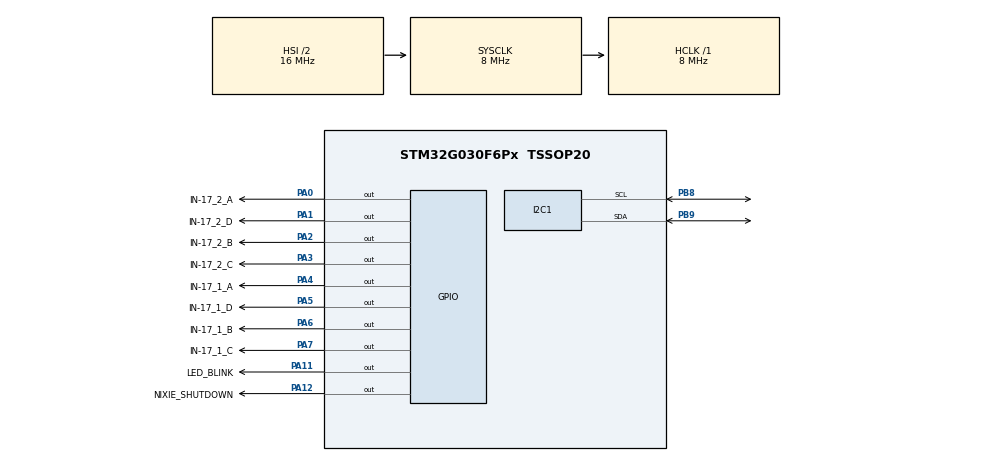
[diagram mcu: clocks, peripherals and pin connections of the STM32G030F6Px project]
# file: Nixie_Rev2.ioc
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I2C1.Timing=0x2000090E
Mcu.Family=STM32G0
Mcu.Name=STM32G030F6Px
Mcu.Package=TSSOP20
PA0.GPIO_Label=IN-17_2_A
PA0.GPIO_ModeDefaultOutputPP=GPIO_MODE_OUTPUT_OD
PA0.GPIO_PuPd=GPIO_PULLUP
PA0.GPIO_Speed=GPIO_SPEED_FREQ_HIGH
PA0.PinState=GPIO_PIN_SET
PA0.Signal=GPIO_Output
PA1.GPIO_Label=IN-17_2_D
PA1.GPIO_ModeDefaultOutputPP=GPIO_MODE_OUTPUT_OD
PA1.GPIO_PuPd=GPIO_PULLUP
PA1.GPIO_Speed=GPIO_SPEED_FREQ_HIGH
PA1.PinState=GPIO_PIN_SET
PA1.Signal=GPIO_Output
PA11\ [PA9].GPIO_Label=LED_BLINK
PA11\ [PA9].Signal=GPIO_Output
PA12\ [PA10].GPIO_Label=NIXIE_SHUTDOWN
PA12\ [PA10].GPIO_ModeDefaultOutputPP=GPIO_MODE_OUTPUT_OD
PA12\ [PA10].GPIO_PuPd=GPIO_PULLUP
PA12\ [PA10].PinState=GPIO_PIN_SET
PA12\ [PA10].Signal=GPIO_Output
PA13.Mode=Serial_Wire
PA13.Signal=SYS_SWDIO
PA14-BOOT0.Mode=Serial_Wire
PA14-BOOT0.Signal=SYS_SWCLK
PA14-BOOT0__PA15.StandardMode=true
PA2.GPIO_Label=IN-17_2_B
PA2.GPIO_ModeDefaultOutputPP=GPIO_MODE_OUTPUT_OD
PA2.GPIO_PuPd=GPIO_PULLUP
PA2.GPIO_Speed=GPIO_SPEED_FREQ_HIGH
PA2.PinState=GPIO_PIN_SET
PA2.Signal=GPIO_Output
PA3.GPIO_Label=IN-17_2_C
PA3.GPIO_ModeDefaultOutputPP=GPIO_MODE_OUTPUT_OD
PA3.GPIO_PuPd=GPIO_PULLUP
PA3.GPIO_Speed=GPIO_SPEED_FREQ_HIGH
PA3.PinState=GPIO_PIN_SET
PA3.Signal=GPIO_Output
PA4.GPIO_Label=IN-17_1_A
PA4.GPIO_ModeDefaultOutputPP=GPIO_MODE_OUTPUT_OD
PA4.GPIO_PuPd=GPIO_PULLUP
PA4.GPIO_Speed=GPIO_SPEED_FREQ_HIGH
PA4.PinState=GPIO_PIN_SET
PA4.Signal=GPIO_Output
PA5.GPIO_Label=IN-17_1_D
PA5.GPIO_ModeDefaultOutputPP=GPIO_MODE_OUTPUT_OD
PA5.GPIO_PuPd=GPIO_PULLUP
PA5.GPIO_Speed=GPIO_SPEED_FREQ_HIGH
PA5.PinState=GPIO_PIN_SET
PA5.Signal=GPIO_Output
PA6.GPIO_Label=IN-17_1_B
PA6.GPIO_ModeDefaultOutputPP=GPIO_MODE_OUTPUT_OD
PA6.GPIO_PuPd=GPIO_PULLUP
PA6.GPIO_Speed=GPIO_SPEED_FREQ_HIGH
PA6.PinState=GPIO_PIN_SET
PA6.Signal=GPIO_Output
PA7.GPIO_Label=IN-17_1_C
PA7.GPIO_ModeDefaultOutputPP=GPIO_MODE_OUTPUT_OD
PA7.GPIO_PuPd=GPIO_PULLUP
PA7.GPIO_Speed=GPIO_SPEED_FREQ_HIGH
PA7.PinState=GPIO_PIN_SET
PA7.Signal=GPIO_Output
PB0__PB1__PB2__PA8.StandardMode=true
PB3__PB4__PB5__PB6.StandardMode=true
PB7__PB8.StandardMode=true
PB8.GPIO_Pu=GPIO_PULLUP
PB8.GPIO_Speed=GPIO_SPEED_FREQ_HIGH
PB8.Mode=I2C
PB8.Signal=I2C1_SCL
PB9.GPIO_Pu=GPIO_PULLUP
PB9.GPIO_Speed=GPIO_SPEED_FREQ_HIGH
PB9.Mode=I2C
PB9.Signal=I2C1_SDA
PC14-OSC32_IN\ (PC14)__PB9.StandardMode=true
ProjectManager.HeapSize=0x200
ProjectManager.StackSize=0x400
ProjectManager.TargetToolchain=STM32CubeIDE
RCC.ADCFreq_Value=8000000
RCC.AHBFreq_Value=8000000
RCC.CortexFreq_Value=8000000
RCC.EXTERNAL_CLOCK_VALUE=12288000
RCC.HCLKFreq_Value=8000000
RCC.HSE_VALUE=8000000
RCC.HSISYSCLKDivider=RCC_HSI_DIV2
RCC.HSI_VALUE=16000000
RCC.LSE_VALUE=32768
RCC.SYSCLKFreq_VALUE=8000000
RCC.VCOOutputFreq_Value=128000000
board=custom

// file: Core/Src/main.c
/* USER CODE BEGIN Header */
/**
  ******************************************************************************
  * @file           : main.c
  * @brief          : Main program body
  ******************************************************************************
  * @attention
  *
  * Copyright (c) 2023 STMicroelectronics.
  * All rights reserved.
  *
  * This software is licensed under terms that can be found in the LICENSE file
  * in the root directory of this software component.
  * If no LICENSE file comes with this software, it is provided AS-IS.
  *
  ******************************************************************************
  */
/* USER CODE END Header */
#include "main.h"

/* USER CODE BEGIN PD */
#define PCF85363A_I2C_ADDR (0x51 << 1) //1010001 in binary, 9.3.1 in datasheet, left bit shift to allow RW LSB

#define IMU_I2C_ADDR (0b1101000 << 1)
#define IMU_REG_DEVICE_CONFIG 0x01
#define IMU_REG_DRIVE_CONFIG2 0x04
#define IMU_REG_WHOAMI 0x75
#define IMU_REG_TEMP_DATA1 0x09
#define IMU_REG_TEMP_DATA2 0x0A

#define PCF85363A_REG_BATSWITCH 0x26
#define PCF85363A_REG_FUNCTION 0x28
#define PCF85363A_REG_RESETS 0x2F

//RTC MODE

#define PCF85363A_REG_100THSECS 0x00
#define PCF85363A_REG_SECS 0x01
#define PCF85363A_REG_MINS 0x02
#define PCF85363A_REG_HOURS 0x03
#define PCF85363A_REG_DAYS 0x04
#define PCF85363A_REG_WEEKDAYS 0x05
#define PCF85363A_REG_MONTHS 0x06
#define PCF85363A_REG_YEARS 0x07
/* USER CODE END PD */

I2C_HandleTypeDef hi2c1;

void SystemClock_Config(void);
static void MX_GPIO_Init(void);
static void MX_I2C1_Init(void);

/* USER CODE BEGIN 0 */

int GetSeconds(){
	uint8_t data;
	HAL_I2C_Mem_Read(&hi2c1, PCF85363A_I2C_ADDR, PCF85363A_REG_SECS, I2C_MEMADD_SIZE_8BIT, &data, 1, HAL_MAX_DELAY);

	uint8_t tens = (data & 0b01110000) >> 4;
	uint8_t digits = data & 0b00001111;
	return tens * 10 + digits;
}

int IMURead(){
	uint8_t data;
	HAL_I2C_Mem_Read(&hi2c1, IMU_I2C_ADDR, IMU_REG_WHOAMI, I2C_MEMADD_SIZE_8BIT, &data, 1, HAL_MAX_DELAY);

	return data;
}

double GetIMUTemp(){

	uint8_t data1;
	HAL_I2C_Mem_Read(&hi2c1, IMU_I2C_ADDR, IMU_REG_TEMP_DATA1, I2C_MEMADD_SIZE_8BIT, &data1, 1, HAL_MAX_DELAY);
	uint8_t data0;
	HAL_I2C_Mem_Read(&hi2c1, IMU_I2C_ADDR, IMU_REG_TEMP_DATA0, I2C_MEMADD_SIZE_8BIT, &data0, 1, HAL_MAX_DELAY);

	return data;
}

void writeNixie1Number(int number){

	switch(number%10){
		case 0:
			HAL_GPIO_WritePin(GPIOA, IN_17_1_A_Pin, 0);
			HAL_GPIO_WritePin(GPIOA, IN_17_1_B_Pin, 0);
			HAL_GPIO_WritePin(GPIOA, IN_17_1_C_Pin, 0);
			HAL_GPIO_WritePin(GPIOA, IN_17_1_D_Pin, 0);
			break;
		case 1:
			HAL_GPIO_WritePin(GPIOA, IN_17_1_A_Pin, 1);
			HAL_GPIO_WritePin(GPIOA, IN_17_1_B_Pin, 0);
			HAL_GPIO_WritePin(GPIOA, IN_17_1_C_Pin, 0);
			HAL_GPIO_WritePin(GPIOA, IN_17_1_D_Pin, 0);
			break;
		case 2:
			HAL_GPIO_WritePin(GPIOA, IN_17_1_A_Pin, 0);
			HAL_GPIO_WritePin(GPIOA, IN_17_1_B_Pin, 1);
			HAL_GPIO_WritePin(GPIOA, IN_17_1_C_Pin, 0);
			HAL_GPIO_WritePin(GPIOA, IN_17_1_D_Pin, 0);
			break;
		case 3:
			HAL_GPIO_WritePin(GPIOA, IN_17_1_A_Pin, 1);
			HAL_GPIO_WritePin(GPIOA, IN_17_1_B_Pin, 1);
			HAL_GPIO_WritePin(GPIOA, IN_17_1_C_Pin, 0);
			HAL_GPIO_WritePin(GPIOA, IN_17_1_D_Pin, 0);
			break;
		case 4:
			HAL_GPIO_WritePin(GPIOA, IN_17_1_A_Pin, 0);
			HAL_GPIO_WritePin(GPIOA, IN_17_1_B_Pin, 0);
			HAL_GPIO_WritePin(GPIOA, IN_17_1_C_Pin, 1);
			HAL_GPIO_WritePin(GPIOA, IN_17_1_D_Pin, 0);
			break;
		case 5:
			HAL_GPIO_WritePin(GPIOA, IN_17_1_A_Pin, 1);
			HAL_GPIO_WritePin(GPIOA, IN_17_1_B_Pin, 0);
			HAL_GPIO_WritePin(GPIOA, IN_17_1_C_Pin, 1);
			HAL_GPIO_WritePin(GPIOA, IN_17_1_D_Pin, 0);
			break;
		case 6:
			HAL_GPIO_WritePin(GPIOA, IN_17_1_A_Pin, 0);
			HAL_GPIO_WritePin(GPIOA, IN_17_1_B_Pin, 1);
			HAL_GPIO_WritePin(GPIOA, IN_17_1_C_Pin, 1);
			HAL_GPIO_WritePin(GPIOA, IN_17_1_D_Pin, 0);
			break;
		case 7:
			HAL_GPIO_WritePin(GPIOA, IN_17_1_A_Pin, 1);
			HAL_GPIO_WritePin(GPIOA, IN_17_1_B_Pin, 1);
			HAL_GPIO_WritePin(GPIOA, IN_17_1_C_Pin, 1);
			HAL_GPIO_WritePin(GPIOA, IN_17_1_D_Pin, 0);
			break;
		case 8:
			HAL_GPIO_WritePin(GPIOA, IN_17_1_A_Pin, 0);
			HAL_GPIO_WritePin(GPIOA, IN_17_1_B_Pin, 0);
			HAL_GPIO_WritePin(GPIOA, IN_17_1_C_Pin, 0);
			HAL_GPIO_WritePin(GPIOA, IN_17_1_D_Pin, 1);
			break;
		case 9:
			HAL_GPIO_WritePin(GPIOA, IN_17_1_A_Pin, 1);
			HAL_GPIO_WritePin(GPIOA, IN_17_1_B_Pin, 0);
			HAL_GPIO_WritePin(GPIOA, IN_17_1_C_Pin, 0);
			HAL_GPIO_WritePin(GPIOA, IN_17_1_D_Pin, 1);
			break;
		default:
			HAL_GPIO_WritePin(GPIOA, IN_17_1_A_Pin, 1);
			HAL_GPIO_WritePin(GPIOA, IN_17_1_B_Pin, 1);
			HAL_GPIO_WritePin(GPIOA, IN_17_1_C_Pin, 1);
			HAL_GPIO_WritePin(GPIOA, IN_17_1_D_Pin, 1);
			break;

	}

}

void writeNixie2Number(int number){

	switch(number%10){
		case 0:
			HAL_GPIO_WritePin(GPIOA, IN_17_2_A_Pin, 0);
			HAL_GPIO_WritePin(GPIOA, IN_17_2_B_Pin, 0);
			HAL_GPIO_WritePin(GPIOA, IN_17_2_C_Pin, 0);
			HAL_GPIO_WritePin(GPIOA, IN_17_2_D_Pin, 0);
			break;
		case 1:
			HAL_GPIO_WritePin(GPIOA, IN_17_2_A_Pin, 1);
			HAL_GPIO_WritePin(GPIOA, IN_17_2_B_Pin, 0);
			HAL_GPIO_WritePin(GPIOA, IN_17_2_C_Pin, 0);
			HAL_GPIO_WritePin(GPIOA, IN_17_2_D_Pin, 0);
			break;
		case 2:
			HAL_GPIO_WritePin(GPIOA, IN_17_2_A_Pin, 0);
			HAL_GPIO_WritePin(GPIOA, IN_17_2_B_Pin, 1);
			HAL_GPIO_WritePin(GPIOA, IN_17_2_C_Pin, 0);
			HAL_GPIO_WritePin(GPIOA, IN_17_2_D_Pin, 0);
			break;
		case 3:
			HAL_GPIO_WritePin(GPIOA, IN_17_2_A_Pin, 1);
			HAL_GPIO_WritePin(GPIOA, IN_17_2_B_Pin, 1);
			HAL_GPIO_WritePin(GPIOA, IN_17_2_C_Pin, 0);
			HAL_GPIO_WritePin(GPIOA, IN_17_2_D_Pin, 0);
			break;
		case 4:
			HAL_GPIO_WritePin(GPIOA, IN_17_2_A_Pin, 0);
			HAL_GPIO_WritePin(GPIOA, IN_17_2_B_Pin, 0);
			HAL_GPIO_WritePin(GPIOA, IN_17_2_C_Pin, 1);
			HAL_GPIO_WritePin(GPIOA, IN_17_2_D_Pin, 0);
			break;
		case 5:
			HAL_GPIO_WritePin(GPIOA, IN_17_2_A_Pin, 1);
			HAL_GPIO_WritePin(GPIOA, IN_17_2_B_Pin, 0);
			HAL_GPIO_WritePin(GPIOA, IN_17_2_C_Pin, 1);
			HAL_GPIO_WritePin(GPIOA, IN_17_2_D_Pin, 0);
			break;
		case 6:
			HAL_GPIO_WritePin(GPIOA, IN_17_2_A_Pin, 0);
			HAL_GPIO_WritePin(GPIOA, IN_17_2_B_Pin, 1);
			HAL_GPIO_WritePin(GPIOA, IN_17_2_C_Pin, 1);
			HAL_GPIO_WritePin(GPIOA, IN_17_2_D_Pin, 0);
			break;
		case 7:
			HAL_GPIO_WritePin(GPIOA, IN_17_2_A_Pin, 1);
			HAL_GPIO_WritePin(GPIOA, IN_17_2_B_Pin, 1);
			HAL_GPIO_WritePin(GPIOA, IN_17_2_C_Pin, 1);
			HAL_GPIO_WritePin(GPIOA, IN_17_2_D_Pin, 0);
			break;
		case 8:
			HAL_GPIO_WritePin(GPIOA, IN_17_2_A_Pin, 0);
			HAL_GPIO_WritePin(GPIOA, IN_17_2_B_Pin, 0);
			HAL_GPIO_WritePin(GPIOA, IN_17_2_C_Pin, 0);
			HAL_GPIO_WritePin(GPIOA, IN_17_2_D_Pin, 1);
			break;
		case 9:
			HAL_GPIO_WritePin(GPIOA, IN_17_2_A_Pin, 1);
			HAL_GPIO_WritePin(GPIOA, IN_17_2_B_Pin, 0);
			HAL_GPIO_WritePin(GPIOA, IN_17_2_C_Pin, 0);
			HAL_GPIO_WritePin(GPIOA, IN_17_2_D_Pin, 1);
			break;
		default:
			HAL_GPIO_WritePin(GPIOA, IN_17_2_A_Pin, 1);
			HAL_GPIO_WritePin(GPIOA, IN_17_2_B_Pin, 1);
			HAL_GPIO_WritePin(GPIOA, IN_17_2_C_Pin, 1);
			HAL_GPIO_WritePin(GPIOA, IN_17_2_D_Pin, 1);
			break;

	}

}

/* USER CODE END 0 */

int main(void)
{

  /* MCU Configuration--------------------------------------------------------*/

  /* Reset of all peripherals, Initializes the Flash interface and the Systick. */
  HAL_Init();

  /* Configure the system clock */
  SystemClock_Config();

  /* Initialize all configured peripherals */
  MX_GPIO_Init();
  MX_I2C1_Init();
  /* USER CODE BEGIN 2 */

  int seconds = 0;
  int IMUReadData = 0;

  IMUReadData = IMURead();

  /* USER CODE END 2 */

  /* Infinite loop */
  /* USER CODE BEGIN WHILE */
  while (1)
  {

	seconds = GetSeconds();
    /* USER CODE END WHILE */

    /* USER CODE BEGIN 3 */

	HAL_GPIO_WritePin(GPIOA, NIXIE_SHUTDOWN_Pin, 0);

	HAL_Delay(100);
	HAL_GPIO_TogglePin(LED_BLINK_GPIO_Port, LED_BLINK_Pin);

	if (seconds == 100){
		seconds = 0;
	}

	writeNixie2Number(seconds % 10);
	writeNixie1Number(seconds / 10);

  }
  /* USER CODE END 3 */
}

void SystemClock_Config(void)
{
  RCC_OscInitTypeDef RCC_OscInitStruct = {0};
  RCC_ClkInitTypeDef RCC_ClkInitStruct = {0};

  /** Configure the main internal regulator output voltage
  */
  HAL_PWREx_ControlVoltageScaling(PWR_REGULATOR_VOLTAGE_SCALE1);

  /** Initializes the RCC Oscillators according to the specified parameters
  * in the RCC_OscInitTypeDef structure.
  */
  RCC_OscInitStruct.OscillatorType = RCC_OSCILLATORTYPE_HSI;
  RCC_OscInitStruct.HSIState = RCC_HSI_ON;
  RCC_OscInitStruct.HSIDiv = RCC_HSI_DIV2;
  RCC_OscInitStruct.HSICalibrationValue = RCC_HSICALIBRATION_DEFAULT;
  RCC_OscInitStruct.PLL.PLLState = RCC_PLL_NONE;
  if (HAL_RCC_OscConfig(&RCC_OscInitStruct) != HAL_OK)
  {
    Error_Handler();
  }

  /** Initializes the CPU, AHB and APB buses clocks
  */
  RCC_ClkInitStruct.ClockType = RCC_CLOCKTYPE_HCLK|RCC_CLOCKTYPE_SYSCLK
                              |RCC_CLOCKTYPE_PCLK1;
  RCC_ClkInitStruct.SYSCLKSource = RCC_SYSCLKSOURCE_HSI;
  RCC_ClkInitStruct.AHBCLKDivider = RCC_SYSCLK_DIV1;
  RCC_ClkInitStruct.APB1CLKDivider = RCC_HCLK_DIV1;

  if (HAL_RCC_ClockConfig(&RCC_ClkInitStruct, FLASH_LATENCY_0) != HAL_OK)
  {
    Error_Handler();
  }
}

static void MX_I2C1_Init(void)
{

  hi2c1.Instance = I2C1;
  hi2c1.Init.Timing = 0x2000090E;
  hi2c1.Init.OwnAddress1 = 0;
  hi2c1.Init.AddressingMode = I2C_ADDRESSINGMODE_7BIT;
  hi2c1.Init.DualAddressMode = I2C_DUALADDRESS_DISABLE;
  hi2c1.Init.OwnAddress2 = 0;
  hi2c1.Init.OwnAddress2Masks = I2C_OA2_NOMASK;
  hi2c1.Init.GeneralCallMode = I2C_GENERALCALL_DISABLE;
  hi2c1.Init.NoStretchMode = I2C_NOSTRETCH_DISABLE;
  if (HAL_I2C_Init(&hi2c1) != HAL_OK)
  {
    Error_Handler();
  }

  /** Configure Analogue filter
  */
  if (HAL_I2CEx_ConfigAnalogFilter(&hi2c1, I2C_ANALOGFILTER_ENABLE) != HAL_OK)
  {
    Error_Handler();
  }

  /** Configure Digital filter
  */
  if (HAL_I2CEx_ConfigDigitalFilter(&hi2c1, 0) != HAL_OK)
  {
    Error_Handler();
  }

}

static void MX_GPIO_Init(void)
{
  GPIO_InitTypeDef GPIO_InitStruct = {0};

  /* GPIO Ports Clock Enable */
  __HAL_RCC_GPIOB_CLK_ENABLE();
  __HAL_RCC_GPIOA_CLK_ENABLE();

  /*Configure GPIO pin Output Level */
  HAL_GPIO_WritePin(GPIOA, IN_17_2_A_Pin|IN_17_2_D_Pin|IN_17_2_B_Pin|IN_17_2_C_Pin
                          |IN_17_1_A_Pin|IN_17_1_D_Pin|IN_17_1_B_Pin|IN_17_1_C_Pin
                          |NIXIE_SHUTDOWN_Pin, GPIO_PIN_SET);

  /*Configure GPIO pin Output Level */
  HAL_GPIO_WritePin(LED_BLINK_GPIO_Port, LED_BLINK_Pin, GPIO_PIN_RESET);

  /*Configure GPIO pins : IN_17_2_A_Pin IN_17_2_D_Pin IN_17_2_B_Pin IN_17_2_C_Pin
                           IN_17_1_A_Pin IN_17_1_D_Pin IN_17_1_B_Pin IN_17_1_C_Pin */
  GPIO_InitStruct.Pin = IN_17_2_A_Pin|IN_17_2_D_Pin|IN_17_2_B_Pin|IN_17_2_C_Pin
                          |IN_17_1_A_Pin|IN_17_1_D_Pin|IN_17_1_B_Pin|IN_17_1_C_Pin;
  GPIO_InitStruct.Mode = GPIO_MODE_OUTPUT_OD;
  GPIO_InitStruct.Pull = GPIO_PULLUP;
  GPIO_InitStruct.Speed = GPIO_SPEED_FREQ_HIGH;
  HAL_GPIO_Init(GPIOA, &GPIO_InitStruct);

  /*Configure GPIO pin : LED_BLINK_Pin */
  GPIO_InitStruct.Pin = LED_BLINK_Pin;
  GPIO_InitStruct.Mode = GPIO_MODE_OUTPUT_PP;
  GPIO_InitStruct.Pull = GPIO_NOPULL;
  GPIO_InitStruct.Speed = GPIO_SPEED_FREQ_LOW;
  HAL_GPIO_Init(LED_BLINK_GPIO_Port, &GPIO_InitStruct);

  /*Configure GPIO pin : NIXIE_SHUTDOWN_Pin */
  GPIO_InitStruct.Pin = NIXIE_SHUTDOWN_Pin;
  GPIO_InitStruct.Mode = GPIO_MODE_OUTPUT_OD;
  GPIO_InitStruct.Pull = GPIO_PULLUP;
  GPIO_InitStruct.Speed = GPIO_SPEED_FREQ_LOW;
  HAL_GPIO_Init(NIXIE_SHUTDOWN_GPIO_Port, &GPIO_InitStruct);

}

void Error_Handler(void)
{
  __disable_irq();
  while (1)
  {
  }
}
